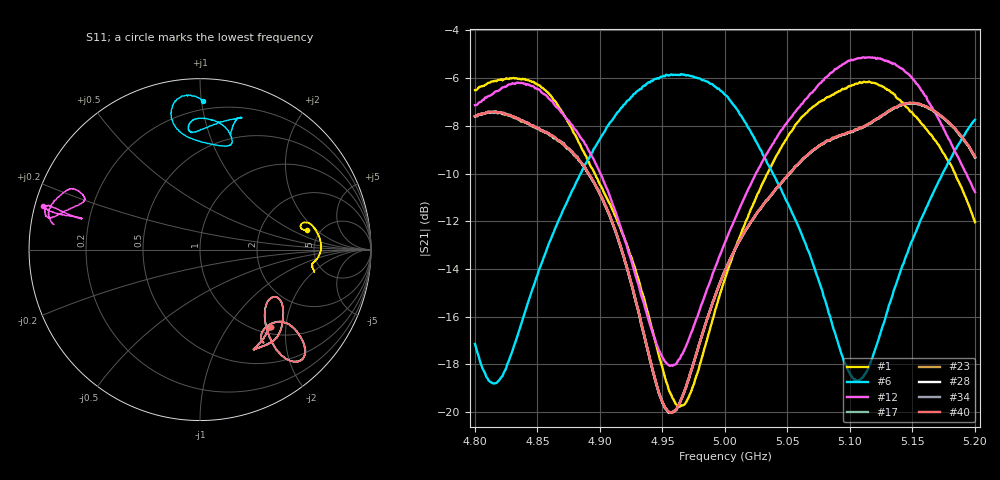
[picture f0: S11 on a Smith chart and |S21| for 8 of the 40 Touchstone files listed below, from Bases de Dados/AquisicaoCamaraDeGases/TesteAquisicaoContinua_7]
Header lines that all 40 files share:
! Network Analyzer HP8722D
! Hewlett-Packard
! Data name: Linha & Wilkinson
! Saver's name: Rodrigo Anjos
! Comments: Teste da utilização de aquisição
! continua pelo VNA HP8722D
!  Frequency  S11  S21  S12  S22
# HZ  S  MA R 50
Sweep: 4.8 GHz to 5.2 GHz
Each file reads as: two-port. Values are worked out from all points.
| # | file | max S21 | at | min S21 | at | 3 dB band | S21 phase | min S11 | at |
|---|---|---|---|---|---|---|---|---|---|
| 1 | teste_arseco&ACE_0-70_0.S2P | -5.99 dB | 4.831 GHz | -19.8 dB | 4.964 GHz | 5.044 GHz-5.172 GHz | -108 deg at 5 GHz | -4.4 dB | 4.834 GHz |
| 2 | teste_arseco&ACE_0-70_1.S2P | -5.99 dB | 4.829 GHz | -19.8 dB | 4.963 GHz | 5.045 GHz-5.172 GHz | -108 deg at 5 GHz | -4.4 dB | 4.833 GHz |
| 3 | teste_arseco&ACE_0-70_2.S2P | -5.99 dB | 4.83 GHz | -19.8 dB | 4.964 GHz | 5.044 GHz-5.172 GHz | -108 deg at 5 GHz | -4.4 dB | 4.838 GHz |
| 4 | teste_arseco&ACE_0-70_3.S2P | -5.99 dB | 4.835 GHz | -19.8 dB | 4.964 GHz | 5.044 GHz-5.173 GHz | -108 deg at 5 GHz | -4.4 dB | 4.834 GHz |
| 5 | teste_arseco&ACE_0-70_4.S2P | -5.99 dB | 4.835 GHz | -19.8 dB | 4.963 GHz | 5.044 GHz-5.173 GHz | -108 deg at 5 GHz | -4.4 dB | 4.832 GHz |
| 6 | teste_arseco&ACE_0-70_5.S2P | -5.83 dB | 4.965 GHz | -18.8 dB | 4.816 GHz | 4.897 GHz-5.026 GHz | -54 deg at 5 GHz | -4.2 dB | 4.919 GHz |
| 7 | teste_arseco&ACE_0-70_6.S2P | -5.83 dB | 4.965 GHz | -18.8 dB | 4.814 GHz | 4.897 GHz-5.026 GHz | -53 deg at 5 GHz | -4.2 dB | 4.915 GHz |
| 8 | teste_arseco&ACE_0-70_7.S2P | -5.84 dB | 4.957 GHz | -18.8 dB | 4.814 GHz | 4.897 GHz-5.026 GHz | -54 deg at 5 GHz | -4.2 dB | 4.919 GHz |
| 9 | teste_arseco&ACE_0-70_8.S2P | -5.81 dB | 4.965 GHz | -18.8 dB | 4.815 GHz | 4.897 GHz-5.026 GHz | -54 deg at 5 GHz | -4.2 dB | 4.913 GHz |
| 10 | teste_arseco&ACE_0-70_9.S2P | -5.13 dB | 5.112 GHz | -18.1 dB | 4.955 GHz | 5.047 GHz-5.174 GHz | 122 deg at 5 GHz | -2.9 dB | 4.894 GHz |
| 11 | teste_arseco&ACE_0-70_10.S2P | -5.12 dB | 5.115 GHz | -18.1 dB | 4.956 GHz | 5.047 GHz-5.174 GHz | 122 deg at 5 GHz | -2.9 dB | 4.891 GHz |
| 12 | teste_arseco&ACE_0-70_11.S2P | -5.13 dB | 5.111 GHz | -18.1 dB | 4.956 GHz | 5.047 GHz-5.174 GHz | 122 deg at 5 GHz | -2.9 dB | 4.891 GHz |
| 13 | teste_arseco&ACE_0-70_12.S2P | -6.80 dB | 4.986 GHz | -19.1 dB | 4.805 GHz | 4.904 GHz-5.048 GHz | -168 deg at 5 GHz | -5.5 dB | 4.802 GHz |
| 14 | teste_arseco&ACE_0-70_13.S2P | -7.06 dB | 5.148 GHz | -20.0 dB | 4.956 GHz | 5.052 GHz-5.2 GHz | -9 deg at 5 GHz | -6.1 dB | 4.971 GHz |
| 15 | teste_arseco&ACE_0-70_14.S2P | -7.07 dB | 5.148 GHz | -20.0 dB | 4.956 GHz | 5.051 GHz-5.2 GHz | -9 deg at 5 GHz | -6.1 dB | 4.97 GHz |
| 16 | teste_arseco&ACE_0-70_15.S2P | -7.07 dB | 5.149 GHz | -20.0 dB | 4.958 GHz | 5.051 GHz-5.2 GHz | -9 deg at 5 GHz | -6.1 dB | 4.974 GHz |
| 17 | teste_arseco&ACE_0-70_16.S2P | -7.06 dB | 5.148 GHz | -20.0 dB | 4.956 GHz | 5.051 GHz-5.2 GHz | -9 deg at 5 GHz | -6.1 dB | 4.973 GHz |
| 18 | teste_arseco&ACE_0-70_17.S2P | -7.06 dB | 5.148 GHz | -20.1 dB | 4.956 GHz | 5.051 GHz-5.2 GHz | -9 deg at 5 GHz | -6.1 dB | 4.973 GHz |
| 19 | teste_arseco&ACE_0-70_18.S2P | -7.05 dB | 5.151 GHz | -20.1 dB | 4.956 GHz | 5.052 GHz-5.2 GHz | -9 deg at 5 GHz | -6.1 dB | 4.971 GHz |
| 20 | teste_arseco&ACE_0-70_19.S2P | -7.06 dB | 5.149 GHz | -20.0 dB | 4.956 GHz | 5.051 GHz-5.2 GHz | -9 deg at 5 GHz | -6.1 dB | 4.969 GHz |
| 21 | teste_arseco&ACE_0-70_20.S2P | -7.06 dB | 5.148 GHz | -20.0 dB | 4.956 GHz | 5.051 GHz-5.2 GHz | -9 deg at 5 GHz | -6.1 dB | 4.971 GHz |
| 22 | teste_arseco&ACE_0-70_21.S2P | -7.06 dB | 5.15 GHz | -20.0 dB | 4.956 GHz | 5.052 GHz-5.2 GHz | -9 deg at 5 GHz | -6.1 dB | 4.972 GHz |
| 23 | teste_arseco&ACE_0-70_22.S2P | -7.05 dB | 5.151 GHz | -20.0 dB | 4.957 GHz | 5.052 GHz-5.2 GHz | -9 deg at 5 GHz | -6.0 dB | 4.97 GHz |
| 24 | teste_arseco&ACE_0-70_23.S2P | -7.05 dB | 5.149 GHz | -20.0 dB | 4.957 GHz | 5.051 GHz-5.2 GHz | -9 deg at 5 GHz | -6.1 dB | 4.97 GHz |
| 25 | teste_arseco&ACE_0-70_24.S2P | -7.04 dB | 5.15 GHz | -20.0 dB | 4.958 GHz | 5.052 GHz-5.2 GHz | -9 deg at 5 GHz | -6.1 dB | 4.973 GHz |
| 26 | teste_arseco&ACE_0-70_25.S2P | -7.05 dB | 5.148 GHz | -20.0 dB | 4.955 GHz | 5.052 GHz-5.2 GHz | -9 deg at 5 GHz | -6.1 dB | 4.972 GHz |
| 27 | teste_arseco&ACE_0-70_26.S2P | -7.04 dB | 5.152 GHz | -20.0 dB | 4.957 GHz | 5.052 GHz-5.2 GHz | -9 deg at 5 GHz | -6.1 dB | 4.973 GHz |
| 28 | teste_arseco&ACE_0-70_27.S2P | -7.05 dB | 5.151 GHz | -20.0 dB | 4.956 GHz | 5.051 GHz-5.2 GHz | -9 deg at 5 GHz | -6.0 dB | 4.973 GHz |
| 29 | teste_arseco&ACE_0-70_28.S2P | -7.04 dB | 5.148 GHz | -20.0 dB | 4.956 GHz | 5.052 GHz-5.2 GHz | -9 deg at 5 GHz | -6.1 dB | 4.973 GHz |
| 30 | teste_arseco&ACE_0-70_29.S2P | -7.05 dB | 5.148 GHz | -20.1 dB | 4.957 GHz | 5.052 GHz-5.2 GHz | -9 deg at 5 GHz | -6.0 dB | 4.972 GHz |
| 31 | teste_arseco&ACE_0-70_30.S2P | -7.04 dB | 5.148 GHz | -20.0 dB | 4.956 GHz | 5.052 GHz-5.2 GHz | -9 deg at 5 GHz | -6.1 dB | 4.971 GHz |
| 32 | teste_arseco&ACE_0-70_31.S2P | -7.03 dB | 5.149 GHz | -20.0 dB | 4.956 GHz | 5.051 GHz-5.2 GHz | -9 deg at 5 GHz | -6.1 dB | 4.971 GHz |
| 33 | teste_arseco&ACE_0-70_32.S2P | -7.04 dB | 5.148 GHz | -20.0 dB | 4.956 GHz | 5.052 GHz-5.2 GHz | -9 deg at 5 GHz | -6.0 dB | 4.973 GHz |
| 34 | teste_arseco&ACE_0-70_33.S2P | -7.04 dB | 5.148 GHz | -20.0 dB | 4.957 GHz | 5.052 GHz-5.2 GHz | -9 deg at 5 GHz | -6.0 dB | 4.97 GHz |
| 35 | teste_arseco&ACE_0-70_34.S2P | -7.04 dB | 5.151 GHz | -20.0 dB | 4.956 GHz | 5.052 GHz-5.2 GHz | -9 deg at 5 GHz | -6.0 dB | 4.972 GHz |
| 36 | teste_arseco&ACE_0-70_35.S2P | -7.04 dB | 5.148 GHz | -20.0 dB | 4.957 GHz | 5.052 GHz-5.2 GHz | -9 deg at 5 GHz | -6.0 dB | 4.972 GHz |
| 37 | teste_arseco&ACE_0-70_36.S2P | -7.04 dB | 5.149 GHz | -20.0 dB | 4.958 GHz | 5.052 GHz-5.2 GHz | -9 deg at 5 GHz | -6.0 dB | 4.971 GHz |
| 38 | teste_arseco&ACE_0-70_37.S2P | -7.03 dB | 5.149 GHz | -20.0 dB | 4.957 GHz | 5.052 GHz-5.2 GHz | -9 deg at 5 GHz | -6.0 dB | 4.971 GHz |
| 39 | teste_arseco&ACE_0-70_38.S2P | -7.04 dB | 5.148 GHz | -20.0 dB | 4.957 GHz | 5.051 GHz-5.2 GHz | -9 deg at 5 GHz | -6.0 dB | 4.973 GHz |
| 40 | teste_arseco&ACE_0-70_39.S2P | -7.02 dB | 5.148 GHz | -20.0 dB | 4.956 GHz | 5.052 GHz-5.2 GHz | -9 deg at 5 GHz | -6.1 dB | 4.97 GHz |
